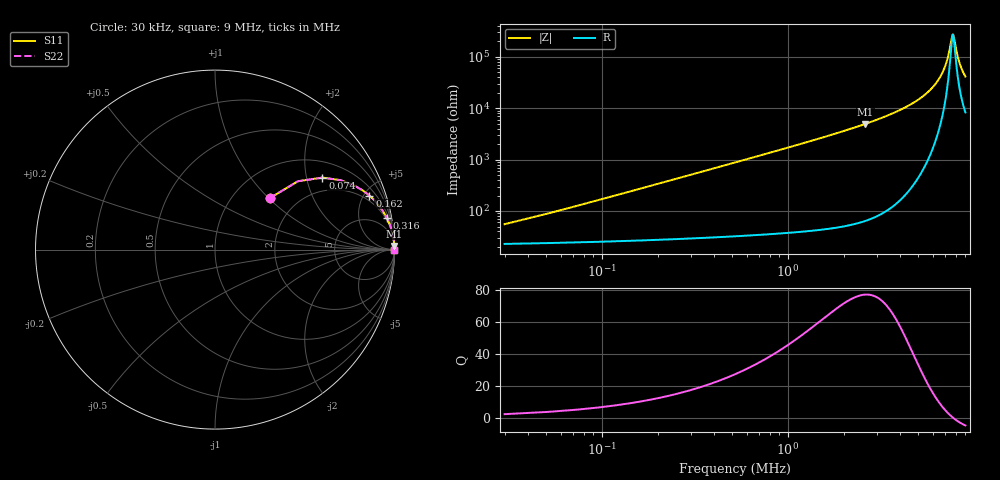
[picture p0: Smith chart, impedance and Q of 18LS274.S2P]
! Coilcraft 1812LS-274 Chip Inductor
! 8 August 2002
# MHZ S MA R 50
!Freq  MagS11  AngS11  MagS21  AngS21  MagS12  AngS12  MagS22  AngS22
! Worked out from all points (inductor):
!   409 points, 30 kHz to 9 MHz, reference 50 ohm
!   read as one part in series: L = 268 uH near 74 kHz
!   highest Q = 77.3 at 2.604 MHz (marker M1), where L = 302 uH
!   self-resonance near 7.708 MHz
!   S11 on the Smith chart (normalised r, x): 30 kHz: 1.46, +1.01; 74 kHz: 1.49, +2.49; 162 kHz: 1.54, +5.46; 316 kHz: 2, +11; 9 MHz: open
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0.03  0.4174 43.3  0.7525 -22.3  0.7525 -22.3  0.4174 43.3
0.074  0.7209 33.8  0.5675 -45.0  0.5675 -45.0  0.7209 33.8
0.118  0.8521 24.9  0.4252 -57.7  0.4252 -57.7  0.8521 24.9
0.162  0.9113 19.3  0.3323 -65.1  0.3323 -65.1  0.9113 19.3
0.316  0.9732 10.5  0.1823 -76.3  0.1823 -76.3  0.9732 10.5
0.514  0.9893 6.5  0.1137 -81.4  0.1137 -81.4  0.9893 6.5
0.778  0.9952 4.3  0.07516 -84.2  0.07516 -84.2  0.9952 4.3
1.526  0.9987 2.1  0.03734 -86.9  0.03734 -86.9  0.9987 2.1
2.604  0.9995 1.2  0.02019 -88.1  0.02019 -88.1  0.9995 1.2
3.022  0.9996 1.0  0.01663 -88.3  0.01663 -88.3  0.9996 1.0
4.518  0.9998 0.5  0.008633 -88.2  0.008633 -88.2  0.9998 0.5
6.014  0.9997 0.2  0.00388 -86.1  0.00388 -86.1  0.9997 0.2
6.542  0.9997 0.1  0.002565 -83.6  0.002565 -83.6  0.9997 0.1
6.938  0.9997 0.1  0.001667 -79.3  0.001667 -79.3  0.9997 0.1
7.246  0.9997 0.1  0.001023 -71.1  0.001023 -71.1  0.9997 0.1
7.51  0.9996 0.0  0.0005459 -50.0  0.0005459 -50.0  0.9996 0.0
7.642  0.9996 0.0  0.0003915 -22.7  0.0003915 -22.7  0.9996 0.0
7.752  0.9996 -0.0  0.0003766 10.5  0.0003766 10.5  0.9996 -0.0
8.082  0.9996 -0.0  0.000813 60.6  0.000813 60.6  0.9996 -0.0
8.302  0.9996 -0.1  0.001197 69.5  0.001197 69.5  0.9996 -0.1
8.632  0.9995 -0.1  0.001779 75.3  0.001779 75.3  0.9995 -0.1
9  0.9995 -0.1  0.002417 78.3  0.002417 78.3  0.9995 -0.1
